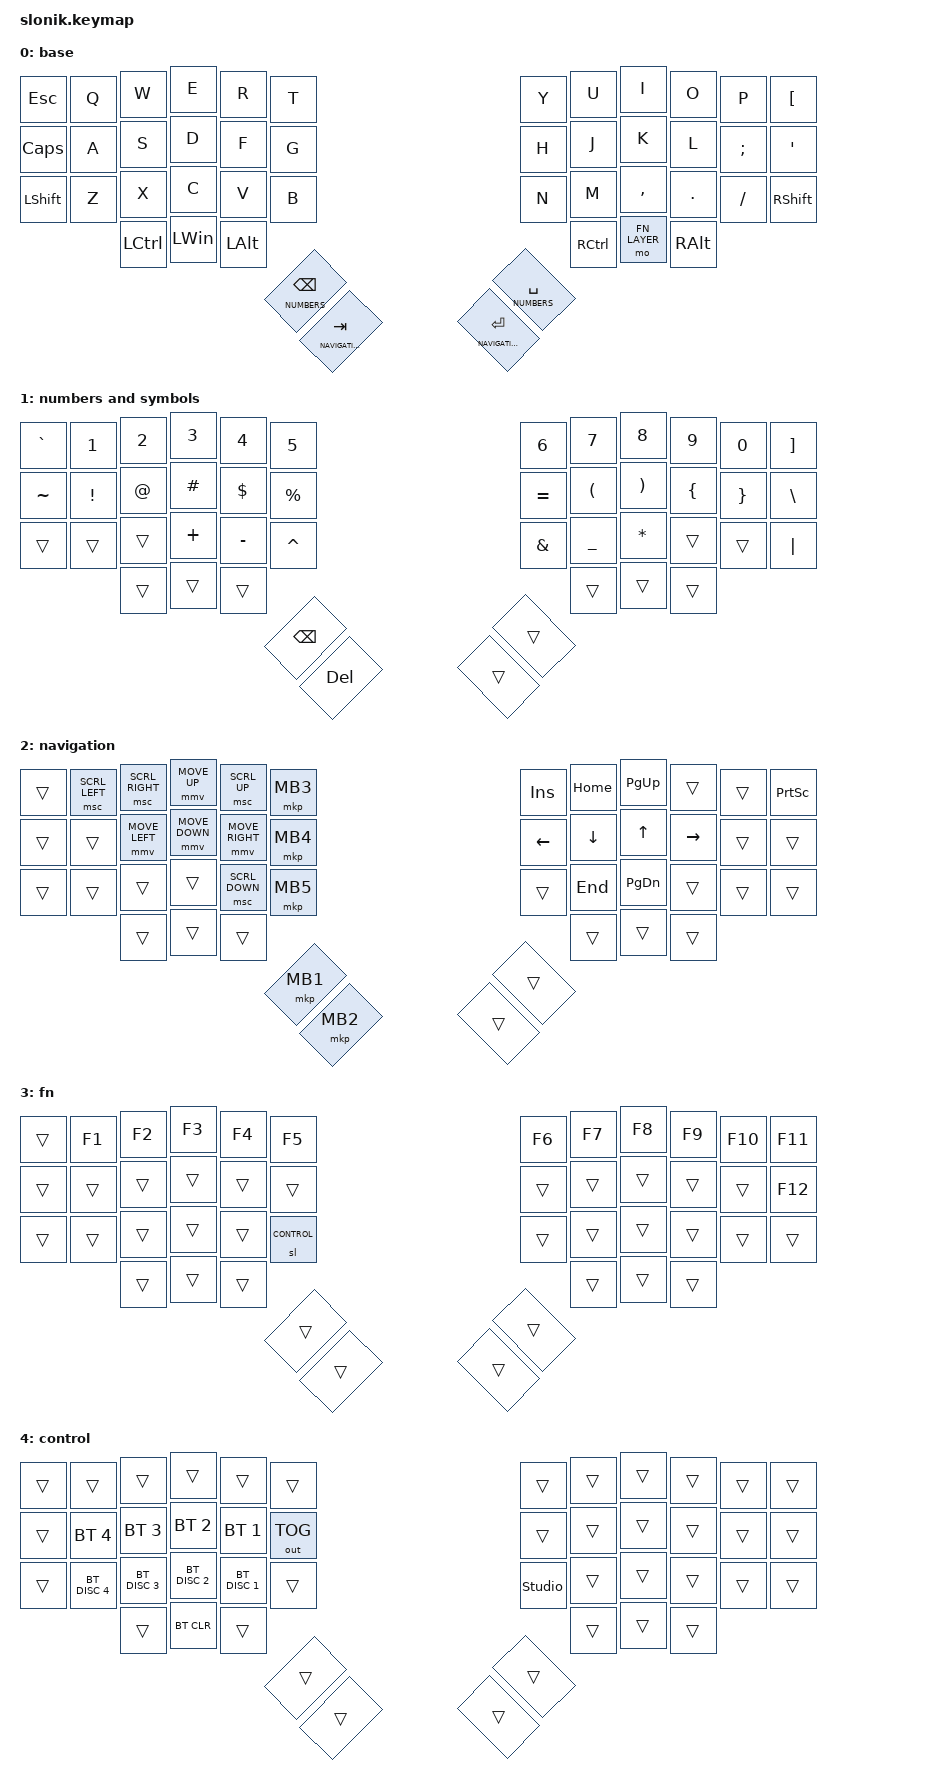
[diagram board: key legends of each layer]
#include <behaviors.dtsi>
#include <dt-bindings/zmk/keys.h>
#include <dt-bindings/zmk/bt.h>
#include <dt-bindings/zmk/outputs.h>
#include <dt-bindings/zmk/pointing.h>

#define DEFAULT    0
#define NUMBERS    1
#define NAVIGATION 2
#define FN_LAYER   3
#define CONTROL    4

/ {
    behaviors {
        ht_hp: hold_tap_hold_preffered {
            compatible = "zmk,behavior-hold-tap";
            #binding-cells = <2>;
            flavor = "hold-preferred";
            bindings = <&mo>, <&kp>;
            tapping-term-ms = <200>;
        };
    };

    keymap {
        compatible = "zmk,keymap";
        default_layer {
            display-name = "base";
            bindings = <
    &kp ESC    &kp Q    &kp W     &kp E     &kp R     &kp T                                                 &kp Y     &kp U     &kp I        &kp O     &kp P    &kp LEFT_BRACKET
    &kp CAPS   &kp A    &kp S     &kp D     &kp F     &kp G                                                 &kp H     &kp J     &kp K        &kp L     &kp SEMI &kp SQT
    &kp LSHIFT &kp Z    &kp X     &kp C     &kp V     &kp B                                                 &kp N     &kp M     &kp COMMA    &kp DOT   &kp FSLH &kp RSHIFT
                        &kp LCTRL &kp LWIN  &kp LALT                                                                  &kp RCTRL &mo FN_LAYER &kp RALT
                                            &ht_hp NUMBERS BKSP &ht_hp NAVIGATION TAB    &ht_hp NAVIGATION ENTER &ht_hp NUMBERS SPACE
            >;
        };
        numbers_layer {
            display-name = "numbers and symbols";
            bindings = <
    &kp GRAVE  &kp N1   &kp N2    &kp N3    &kp N4    &kp N5                                                &kp N6    &kp N7    &kp N8    &kp N9    &kp N0   &kp RIGHT_BRACKET
    &kp TILDE  &kp EXCL &kp AT    &kp HASH  &kp DLLR  &kp PRCNT                                             &kp EQUAL &kp LPAR  &kp RPAR  &kp LBRC  &kp RBRC &kp BACKSLASH
    &trans     &trans   &trans    &kp PLUS  &kp MINUS &kp CARET                                             &kp AMPS  &kp UNDER &kp STAR  &trans    &trans   &kp PIPE
                        &trans    &trans    &trans                                                                    &trans    &trans    &trans
                                                      &kp BKSP   &kp DEL                          &trans    &trans
            >;
        };
        nav_layer {
            display-name = "navigation";
            bindings = <
    &trans     &msc SCRL_LEFT   &msc SCRL_RIGHT   &mmv MOVE_UP    &msc SCRL_UP       &mkp MB3                                                 &kp INS   &kp HOME  &kp PG_UP &trans    &trans    &kp PSCRN
    &trans     &trans           &mmv MOVE_LEFT    &mmv MOVE_DOWN  &mmv MOVE_RIGHT    &mkp MB4                                                 &kp LEFT  &kp DOWN  &kp UP    &kp RIGHT &trans    &trans
    &trans     &trans           &trans            &trans          &msc SCRL_DOWN     &mkp MB5                                                 &trans    &kp END   &kp PG_DN &trans    &trans    &trans
                                &trans            &trans          &trans                                                                                &trans    &trans    &trans
                                                                                     &mkp MB1   &mkp MB2                            &trans    &trans
            >;
        };
        fn_layer {
            display-name = "fn";
            bindings = <
    &trans     &kp F1   &kp F2    &kp F3    &kp F4    &kp F5                                                 &kp F6     &kp F7    &kp F8    &kp F9    &kp F10   &kp F11
    &trans     &trans   &trans    &trans    &trans    &trans                                                 &trans     &trans    &trans    &trans    &trans    &kp F12
    &trans     &trans   &trans    &trans    &trans    &sl CONTROL                                            &trans     &trans    &trans    &trans    &trans    &trans
                        &trans    &trans    &trans                                                                      &trans    &trans    &trans
                                                      &trans     &trans                         &trans     &trans
            >;
        };
        control_layer {
            display-name = "control";
            bindings = <
    &trans     &trans        &trans        &trans        &trans        &trans                                                 &trans            &trans     &trans    &trans    &trans    &trans
    &trans     &bt BT_SEL 4  &bt BT_SEL 3  &bt BT_SEL 2  &bt BT_SEL 1  &out OUT_TOG                                           &trans            &trans     &trans    &trans    &trans    &trans
    &trans     &bt BT_DISC 4 &bt BT_DISC 3 &bt BT_DISC 2 &bt BT_DISC 1 &trans                                                 &studio_unlock    &trans     &trans    &trans    &trans    &trans
                             &trans        &bt BT_CLR    &trans                                                                                 &trans     &trans    &trans
                                                         &trans     &trans                                         &trans     &trans
            >;
        };
        extra1 {
            status = "reserved";
        };

        extra2 {
            status = "reserved";
        };
    };
};
